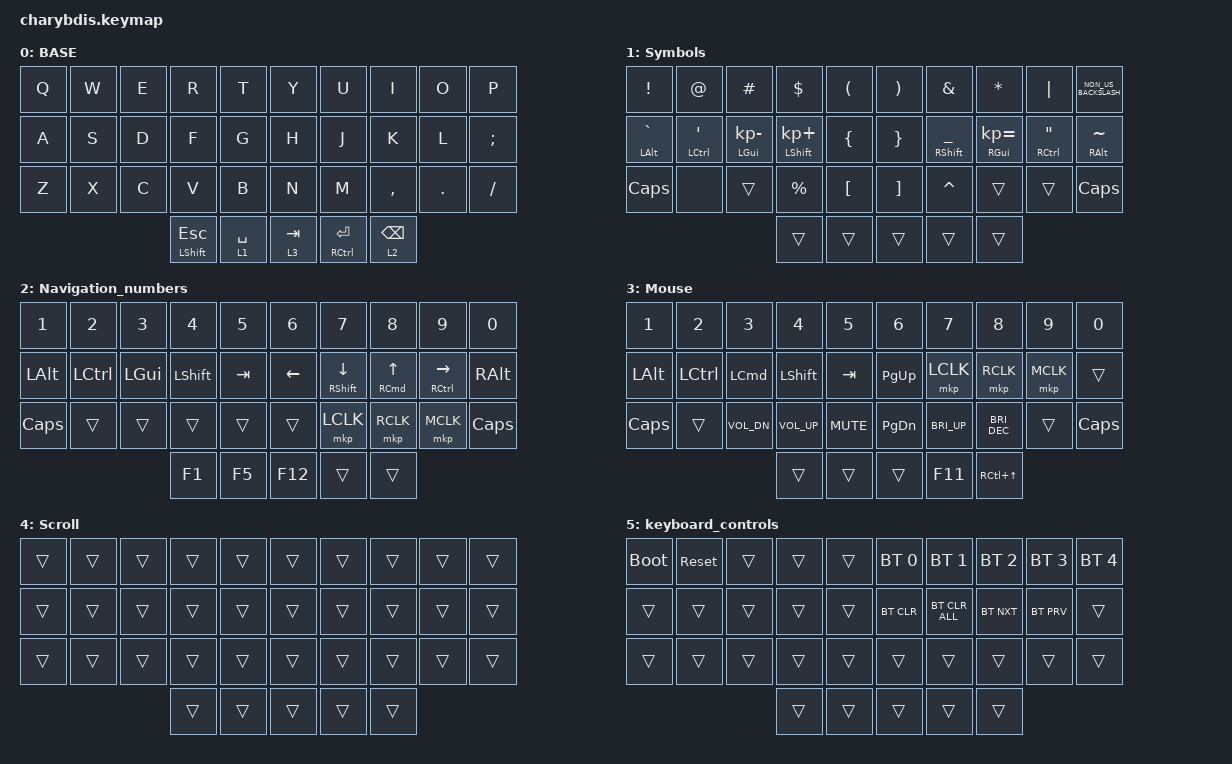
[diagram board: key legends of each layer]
#include <behaviors/mouse_keys.dtsi>
#include <dt-bindings/zmk/mouse.h>
#include <behaviors.dtsi>
#include <dt-bindings/zmk/bt.h>
#include <dt-bindings/zmk/keys.h>
#include <dt-bindings/zmk/pointing.h>

#define U_TAPPING_TERM 200

&mt {
    tapping-term-ms = <200>;
    quick-tap-ms = <200>;
    flavor = "tap-preferred";
};

&lt {
    tapping-term-ms = <200>;
    quick-tap-ms = <200>;
};

/ {
    chosen { zmk,matrix_transform = &default_transform; };
};

/ {
    behaviors {
        hrm_right: hrm_right {
            compatible = "zmk,behavior-hold-tap";
            label = "Homerow Mods Right";
            bindings = <&kp>, <&kp>;

            #binding-cells = <2>;
            hold-trigger-key-positions = <0 1 2 3 4 10 11 12 13 14 20 21 22 23 24 30 31 32>;
            tapping-term-ms = <200>;
            quick-tap-ms = <200>;
            flavor = "tap-preferred";
        };

        hrm_left: hrm_left {
            compatible = "zmk,behavior-hold-tap";
            label = "Homerow Mods Left";
            bindings = <&kp>, <&kp>;

            #binding-cells = <2>;
            tapping-term-ms = <200>;
            quick-tap-ms = <200>;
            flavor = "tap-preferred";
            hold-trigger-key-positions = <5 6 7 8 9 15 16 17 18 19 25 26 27 28 29 33 34>;
        };

        tapdance_parens: tapdance_parens {
            compatible = "zmk,behavior-tap-dance";
            label = "TAPDANCE_PARENS";
            #binding-cells = <0>;
            tapping-term-ms = <250>;
            bindings = <&kp LEFT_PARENTHESIS>, <&kp RIGHT_PARENTHESIS>;
        };

        tapdance_curly: tapdance_curly {
            compatible = "zmk,behavior-tap-dance";
            label = "TAPDANCE_CURLY";
            #binding-cells = <0>;
            tapping-term-ms = <250>;
            bindings = <&kp LEFT_BRACE>, <&kp RIGHT_BRACE>;
        };

        tapdance_square: tapdance_square {
            compatible = "zmk,behavior-tap-dance";
            label = "TAPDANCE_SQUARE";
            #binding-cells = <0>;
            tapping-term-ms = <250>;
            bindings = <&kp LEFT_BRACKET>, <&kp RIGHT_BRACKET>;
        };

        tapdance_tab_mouselayer: tapdance_tab_mouselayer {
            compatible = "zmk,behavior-tap-dance";
            label = "TAPDANCE_TAB_MOUSELAYER";
            #binding-cells = <0>;
            tapping-term-ms = <250>;
            bindings = <&mo 3>, <&kp TAB>;
        };

        tapdance_z_capslock: tapdance_z_capslock {
            compatible = "zmk,behavior-tap-dance";
            label = "TAPDANCE_Z_CAPSLOCK";
            #binding-cells = <0>;
            tapping-term-ms = <200>;
            bindings = <&kp Z>, <&kp CAPSLOCK>;
        };
    };

    combos {
        compatible = "zmk,combos";

        to_base_layer {
            bindings = <&to 0>;
            key-positions = <5 33>;
        };

        to_symbol_layer {
            bindings = <&to 1>;
            key-positions = <33 6>;
        };

        to_number_layer {
            bindings = <&to 2>;
            key-positions = <33 7>;
        };

        toggle_mouse_layer {
            bindings = <&tog 3>;
            key-positions = <33 9>;
        };

        combo_macro_lock_mac {
            bindings = <&screen_lock_mac>;
            key-positions = <33 19>;
        };
    };

    macros {
        screen_lock_mac: screen_lock_mac {
            compatible = "zmk,behavior-macro";
            #binding-cells = <0>;
            bindings =
                <&macro_press>,
                <&kp LCTRL>,
                <&macro_press>,
                <&kp LCMD>,
                <&macro_tap>,
                <&kp Q>,
                <&macro_release>,
                <&kp LCTRL>,
                <&macro_release>,
                <&kp LCMD>;

            label = "SCREEN_LOCK_MAC";
        };
    };

    keymap {
        compatible = "zmk,keymap";

        BASE {
            bindings = <
&kp Q  &kp W  &kp E  &kp R              &kp T                   &kp Y  &kp U            &kp I            &kp O    &kp P
&kp A  &kp S  &kp D  &kp F              &kp G                   &kp H  &kp J            &kp K            &kp L    &kp SEMI
&kp Z  &kp X  &kp C  &kp V              &kp B                   &kp N  &kp M            &kp COMMA        &kp DOT  &kp FSLH
                     &mt LSHIFT ESCAPE  &lt 1 SPACE  &lt 3 TAB         &mt RCTRL ENTER  &lt 2 BACKSPACE
            >;
        };

        Symbols {
            bindings = <
&kp EXCL                  &kp AT                        &kp POUND                    &kp DOLLAR                    &kp LEFT_PARENTHESIS          &kp RIGHT_PARENTHESIS  &kp AMPERSAND                 &kp ASTRK                      &kp PIPE                        &kp NON_US_BACKSLASH
&hrm_left LEFT_ALT GRAVE  &hrm_left LCTRL SINGLE_QUOTE  &hrm_left LEFT_GUI KP_MINUS  &hrm_left LEFT_SHIFT KP_PLUS  &kp LEFT_BRACE                &kp RIGHT_BRACE        &hrm_right RSHIFT UNDERSCORE  &hrm_right RIGHT_GUI KP_EQUAL  &hrm_right RCTRL DOUBLE_QUOTES  &hrm_right RIGHT_ALT TILDE
&kp CAPS                  &none                         &trans                       &kp PERCENT                   &kp LEFT_BRACKET              &kp RIGHT_BRACKET      &kp CARET                     &trans                         &trans                          &kp CAPS
                                                                                     &trans                        &trans                &trans                         &trans                        &trans
            >;
        };

        Navigation_numbers {
            bindings = <
&kp N1    &kp N2     &kp N3    &kp N4     &kp N5            &kp N6    &kp N7                       &kp N8                       &kp N9                  &kp N0
&kp LALT  &kp LCTRL  &kp LGUI  &kp LSHFT  &kp TAB           &kp LEFT  &hrm_right RIGHT_SHIFT DOWN  &hrm_right RIGHT_COMMAND UP  &hrm_right RCTRL RIGHT  &kp RIGHT_ALT
&kp CAPS  &trans     &trans    &trans     &trans            &trans    &mkp LCLK                    &mkp RCLK                    &mkp MCLK               &kp CAPS
                               &kp F1     &kp F5   &kp F12            &trans                       &trans
            >;
        };

        Mouse {
            bindings = <
&kp NUMBER_1  &kp NUMBER_2  &kp NUMBER_3      &kp NUMBER_4  &kp N5              &kp NUMBER_6   &kp N7        &kp N8                &kp N9     &kp N0
&kp LALT      &kp LCTRL     &kp LEFT_COMMAND  &kp LSHIFT    &kp TAB             &kp PG_UP      &mkp LCLK     &mkp RCLK             &mkp MCLK  &trans
&kp CAPSLOCK  &trans        &kp C_VOL_DN      &kp C_VOL_UP  &kp K_MUTE          &kp PAGE_DOWN  &kp C_BRI_UP  &kp C_BRIGHTNESS_DEC  &trans     &kp CAPS
                                              &trans        &trans      &trans                 &kp F11       &kp RC(UP_ARROW)
            >;
        };

        Scroll {
            bindings = <
&trans  &trans  &trans  &trans  &trans          &trans  &trans  &trans  &trans  &trans
&trans  &trans  &trans  &trans  &trans          &trans  &trans  &trans  &trans  &trans
&trans  &trans  &trans  &trans  &trans          &trans  &trans  &trans  &trans  &trans
                        &trans  &trans  &trans          &trans  &trans
            >;
        };

        keyboard_controls {
            bindings = <
&bootloader  &sys_reset  &trans  &trans  &trans          &bt BT_SEL 0  &bt BT_SEL 1    &bt BT_SEL 2  &bt BT_SEL 3  &bt BT_SEL 4
&trans       &trans      &trans  &trans  &trans          &bt BT_CLR    &bt BT_CLR_ALL  &bt BT_NXT    &bt BT_PRV    &trans
&trans       &trans      &trans  &trans  &trans          &trans        &trans          &trans        &trans        &trans
                                 &trans  &trans  &trans                &trans          &trans
            >;
        };
    };
};
